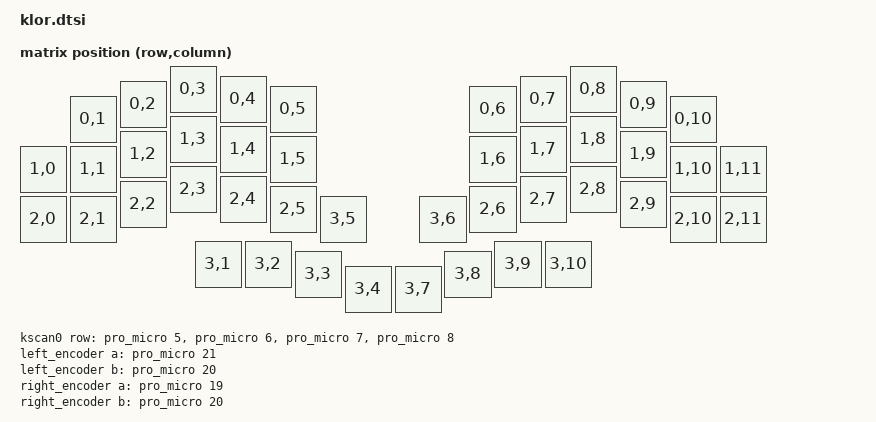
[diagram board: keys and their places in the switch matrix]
/*
 * Copyright (c) 2022 The ZMK Contributors
 *
 * SPDX-License-Identifier: MIT
 */

#include <dt-bindings/zmk/matrix_transform.h>
#include <physical_layouts.dtsi>

/ {
	chosen {
		zmk,kscan = &kscan0;
		// No zmk,matrix-transform here: with a physical layout the transform is
		// referenced by physical_layout0's `transform` property (required by Studio).
		zmk,physical-layout = &physical_layout0;
	};

	default_transform: keymap_transform {
		compatible = "zmk,matrix-transform";
		columns = <12>;
		rows = <4>;
		map = <
		        RC(0,1) RC(0,2) RC(0,3) RC(0,4) RC(0,5)                 RC(0,6) RC(0,7) RC(0,8) RC(0,9) RC(0,10)
		RC(1,0) RC(1,1) RC(1,2) RC(1,3) RC(1,4) RC(1,5)                 RC(1,6) RC(1,7) RC(1,8) RC(1,9) RC(1,10) RC(1,11)
		RC(2,0) RC(2,1) RC(2,2) RC(2,3) RC(2,4) RC(2,5) RC(3,5) RC(3,6) RC(2,6) RC(2,7) RC(2,8) RC(2,9) RC(2,10) RC(2,11)
		                RC(3,1) RC(3,2) RC(3,3) RC(3,4)                 RC(3,7) RC(3,8) RC(3,9) RC(3,10)
		>;
	};

	physical_layout0: physical_layout_0 {
		compatible = "zmk,physical-layout";
		display-name = "Default Layout";
		transform = <&default_transform>;
		kscan = <&kscan0>;

		// Positions match klor.json; units are 1/100 of a key (100 = 1U).
		keys  //                     w   h    x    y     rot    rx    ry
			= <&key_physical_attrs 100 100  100   60       0     0     0>
			, <&key_physical_attrs 100 100  200   30       0     0     0>
			, <&key_physical_attrs 100 100  300    0       0     0     0>
			, <&key_physical_attrs 100 100  400   20       0     0     0>
			, <&key_physical_attrs 100 100  500   40       0     0     0>
			, <&key_physical_attrs 100 100  900   40       0     0     0>
			, <&key_physical_attrs 100 100 1000   20       0     0     0>
			, <&key_physical_attrs 100 100 1100    0       0     0     0>
			, <&key_physical_attrs 100 100 1200   30       0     0     0>
			, <&key_physical_attrs 100 100 1300   60       0     0     0>

			, <&key_physical_attrs 100 100    0  160       0     0     0>
			, <&key_physical_attrs 100 100  100  160       0     0     0>
			, <&key_physical_attrs 100 100  200  130       0     0     0>
			, <&key_physical_attrs 100 100  300  100       0     0     0>
			, <&key_physical_attrs 100 100  400  120       0     0     0>
			, <&key_physical_attrs 100 100  500  140       0     0     0>
			, <&key_physical_attrs 100 100  900  140       0     0     0>
			, <&key_physical_attrs 100 100 1000  120       0     0     0>
			, <&key_physical_attrs 100 100 1100  100       0     0     0>
			, <&key_physical_attrs 100 100 1200  130       0     0     0>
			, <&key_physical_attrs 100 100 1300  160       0     0     0>
			, <&key_physical_attrs 100 100 1400  160       0     0     0>

			, <&key_physical_attrs 100 100    0  260       0     0     0>
			, <&key_physical_attrs 100 100  100  260       0     0     0>
			, <&key_physical_attrs 100 100  200  230       0     0     0>
			, <&key_physical_attrs 100 100  300  200       0     0     0>
			, <&key_physical_attrs 100 100  400  220       0     0     0>
			, <&key_physical_attrs 100 100  500  240       0     0     0>
			, <&key_physical_attrs 100 100  600  260       0     0     0>
			, <&key_physical_attrs 100 100  800  260       0     0     0>
			, <&key_physical_attrs 100 100  900  240       0     0     0>
			, <&key_physical_attrs 100 100 1000  220       0     0     0>
			, <&key_physical_attrs 100 100 1100  200       0     0     0>
			, <&key_physical_attrs 100 100 1200  230       0     0     0>
			, <&key_physical_attrs 100 100 1300  260       0     0     0>
			, <&key_physical_attrs 100 100 1400  260       0     0     0>

			, <&key_physical_attrs 100 100  350  350       0     0     0>
			, <&key_physical_attrs 100 100  450  350       0     0     0>
			, <&key_physical_attrs 100 100  550  370       0     0     0>
			, <&key_physical_attrs 100 100  650  400       0     0     0>
			, <&key_physical_attrs 100 100  750  400       0     0     0>
			, <&key_physical_attrs 100 100  850  370       0     0     0>
			, <&key_physical_attrs 100 100  950  350       0     0     0>
			, <&key_physical_attrs 100 100 1050  350       0     0     0>
			;
	};


	kscan0: kscan {
		compatible = "zmk,kscan-gpio-matrix";
		label = "KSCAN";
		wakeup-source;

		diode-direction = "col2row";
		row-gpios
			= <&pro_micro 5 (GPIO_ACTIVE_HIGH | GPIO_PULL_DOWN)>
			, <&pro_micro 6 (GPIO_ACTIVE_HIGH | GPIO_PULL_DOWN)>
			, <&pro_micro 7 (GPIO_ACTIVE_HIGH | GPIO_PULL_DOWN)>
			, <&pro_micro 8 (GPIO_ACTIVE_HIGH | GPIO_PULL_DOWN)>
			;
	};

	left_encoder: encoder_left {
		compatible = "alps,ec11";
		label = "LEFT_ENCODER";
		a-gpios = <&pro_micro 21 (GPIO_ACTIVE_HIGH | GPIO_PULL_UP)>;
		b-gpios = <&pro_micro 20 (GPIO_ACTIVE_HIGH | GPIO_PULL_UP)>;
		resolution = <4>;
		//status = "disabled";
	};

	right_encoder: encoder_right {
		compatible = "alps,ec11";
		label = "RIGHT_ENCODER";
		a-gpios = <&pro_micro 19 (GPIO_ACTIVE_HIGH | GPIO_PULL_UP)>;
		b-gpios = <&pro_micro 20 (GPIO_ACTIVE_HIGH | GPIO_PULL_UP)>;
		resolution = <4>;
		status = "disabled";
	};

	sensors {
		compatible = "zmk,keymap-sensors";
		sensors = <&left_encoder>;
	};
};
